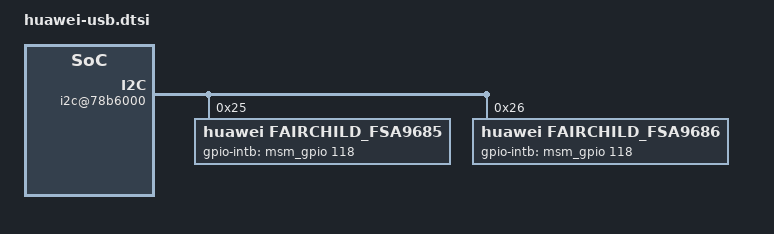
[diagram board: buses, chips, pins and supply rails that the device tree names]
/* < DTS2014122400303 yuanzhen 20141224 begin */
/{
	usbswitch: usbswitch {
		compatible = "huawei,usbswitch";
		gpio_switch_back = "-1";
		status = "ok";
	};
};

&soc {
	/* < DTS2015031802908 yuanzhen 20150318 begin */
	i2c@78b6000{
	/* DTS2015031802908 yuanzhen 20150318 end > */
		fairchild_fsa9685: fsa9685@25 {
			compatible = "huawei,fairchild_fsa9685";
			reg = <0x25>;
			fairchild_fsa9685,gpio-intb = <&msm_gpio 118 0>;
			status = "ok";
		};
	};
};
/* DTS2014122400303 yuanzhen 20141224 end > */

/* < DTS2015012703515 yuanzhen 20150127 begin */
&soc {
	/* < DTS2015031802908 yuanzhen 20150318 begin */
	i2c@78b6000{
	/* DTS2015031802908 yuanzhen 20150318 end > */
		fairchild_fsa9686: fsa9686@26 {
			compatible = "huawei,fairchild_fsa9686";
			reg = <0x26>;
			fairchild_fsa9685,gpio-intb = <&msm_gpio 118 0>;
			status = "ok";
		};
	};
};
/* DTS2015012703515 yuanzhen 20150127 end > */

/* < DTS2014122907766 chenxi 20141229 begin */
&usb_otg {
	qcom,hsusb-otg-mode = <3>;
	vbus_otg-supply = <&bq24296_otg_supply>;
	/* < DTS2015081908926 zhangjian 20150820 begin  */
	qcom,hsusb-otg-phy-init-seq =
		<0x74 0x80 0x6F 0x81 0x35 0x82 0x23 0x83 0xffffffff>;
	qcom,hsusb-otg-phy-init-seq-host =
		<0x74 0x80 0x22 0x81 0x35 0x82 0x23 0x83 0xffffffff>;
	/* DTS2015081908926 zhangjian 20150820 end > */
};
/* DTS2014122907766 chenxi 20141229 end > */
